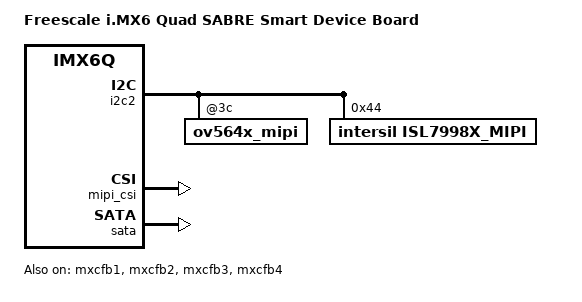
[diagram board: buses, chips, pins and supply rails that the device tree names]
// SPDX-License-Identifier: GPL-2.0+
//
// Copyright 2012 Freescale Semiconductor, Inc.
// Copyright 2011 Linaro Ltd.

/dts-v1/;

#include "imx6q.dtsi"
#include "imx6qdl-sabresd.dtsi"

/ {
	model = "Freescale i.MX6 Quad SABRE Smart Device Board";
	compatible = "fsl,imx6q-sabresd", "fsl,imx6q";

	v4l2_cap_2 {
		compatible = "fsl,imx6q-v4l2-capture";
		ipu_id = <1>;
		csi_id = <0>;
		mclk_source = <0>;
		status = "okay";
 	};

	v4l2_cap_3 {
		compatible = "fsl,imx6q-v4l2-capture";
		ipu_id = <1>;
		csi_id = <1>;
		mclk_source = <0>;
		status = "okay";
 	};
};

&battery {
	offset-charger = <1900>;
	offset-discharger = <1694>;
	offset-usb-charger = <1685>;
};

&ldb {
	lvds-channel@0 {
		crtc = "ipu2-di0";
	};

	lvds-channel@1 {
		crtc = "ipu2-di1";
	};
};

&i2c2 {
	ov564x_mipi: ov564x_mipi@3c {
		ipu_id = <1>;
		csi_id = <1>;
		v_channel_id = <3>;
	};

	isl7998x_mipi: isl7998x_mipi@44 {
		compatible = "intersil,isl7998x_mipi";
		reg = <0x44>;
		clocks = <&clks 201>;
		clock-names = "csi_mclk";
		csi_id = <0>;
		mclk = <27000000>;
		mclk_source = <0>;
	};
};

&mipi_csi {
	status = "okay";
	lanes = <2>;

	mipi-csi2-channel@0 {
		ipu_id = <0>;
		csi_id = <0>;
		v_channel = <0>;
		status = "okay";
	};

	mipi-csi2-channel@1 {
		ipu_id = <0>;
		csi_id = <1>;
		v_channel = <1>;
		status = "okay";
	};

	mipi-csi2-channel@2 {
		ipu_id = <1>;
		csi_id = <0>;
		v_channel = <2>;
		status = "okay";
	};

	mipi-csi2-channel@3 {
 		ipu_id = <1>;
 		csi_id = <1>;
 		v_channel = <3>;
		status = "okay";
 	};
};

&mxcfb1 {
	status = "okay";
};

&mxcfb2 {
	status = "okay";
};

&mxcfb3 {
	status = "okay";
};

&mxcfb4 {
	status = "okay";
};

&sata {
	status = "okay";
};

&ipu1_csi1_from_mipi_vc1 {
	clock-lanes = <0>;
	data-lanes = <1 2>;
};
